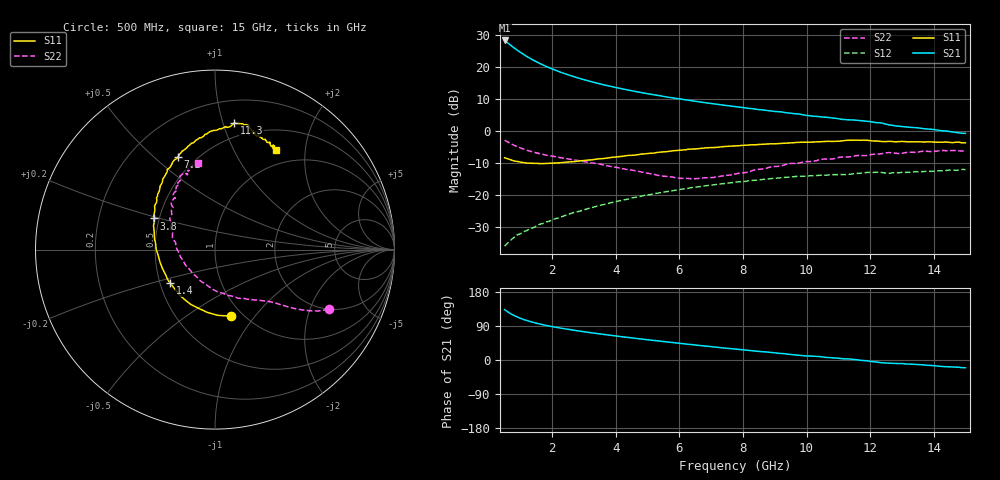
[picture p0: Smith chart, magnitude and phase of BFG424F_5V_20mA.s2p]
! Filename BFG424F_5V_20mA.prm
! Simulation_Values
! Created	by	janssen	on	nov	2006
!	Column ranking S11, S21,S12,S22 both magnitude and phase.
!	VCE	=	5	V,	IC	=	20	mA
!	Common	Emitter	S-Parameters
#	GHZ	S	MA	R	50
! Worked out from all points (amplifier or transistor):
!   146 points, 500 MHz to 15 GHz, reference 50 ohm
!   highest |S21| = 28.2 dB at 500 MHz (marker M1)
!   |S21| within 3 dB of that: start of sweep to 894.8 MHz
!   unconditionally stable (mu >= 1): 1.645 GHz to end of sweep
!   at 2.9 GHz: K = 1.14, MAG = 18.3 dB, |S12| = -24.9 dB
!   at 7.8 GHz: K = 1.13, MAG = 9.5 dB, |S12| = -15.9 dB
!   at 15 GHz: K = 1.38, MAG = 2.0 dB, |S12| = -12.1 dB
!   S11 on the Smith chart (normalised r, x): 500 MHz: 0.88, -0.77; 1.4 GHz: 0.56, -0.23; 3.8 GHz: 0.47, +0.19; 7.2 GHz: 0.40, +0.60; 11.3 GHz: 0.38, +1.09; 15 GHz: 0.77, +1.49
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0.5  0.382 -76.3  25.58 133.0  0.016 62.0  0.715 -27.8
0.6  0.367 -87.3  23.35 127.0  0.018 60.4  0.67 -30.7
0.7  0.352 -97.3  21.35 121.8  0.02 60.9  0.63 -32.8
0.8  0.339 -106.1  19.56 117.3  0.022 60.7  0.596 -34.4
0.9  0.334 -114.0  18.03 113.4  0.024 60.7  0.567 -35.8
1  0.326 -121.1  16.66 109.9  0.025 61.1  0.541 -37.0
1.1  0.321 -127.5  15.45 106.8  0.027 61.6  0.519 -38.0
1.2  0.315 -133.2  14.39 104.1  0.028 62.3  0.499 -38.9
1.4  0.312 -143.7  12.65 99.2  0.031 63.4  0.467 -40.5
1.7  0.309 -156.2  10.67 93.2  0.036 64.9  0.43 -42.8
2.1  0.315 -170.0  8.787 86.5  0.043 66.3  0.395 -46.4
2.5  0.328 179.4  7.453 80.8  0.05 67.6  0.365 -50.4
3  0.345 168.2  6.259 74.5  0.059 67.9  0.333 -56.2
3.8  0.383 153.1  4.968 65.5  0.075 67.3  0.281 -68.3
4.5  0.416 143.2  4.207 58.3  0.09 65.9  0.245 -81.4
5.4  0.467 131.0  3.511 49.5  0.109 62.6  0.199 -104.7
7.2  0.557 111.6  2.588 33.6  0.147 55.1  0.192 -164.8
7.8  0.584 106.5  2.372 28.6  0.16 52.4  0.215 177.4
10.2  0.669 88.5  1.692 10.1  0.2 39.8  0.335 134.7
11.3  0.714 81.4  1.486 3.0  0.209 35.3  0.391 123.0
12.6  0.687 71.1  1.236 -8.3  0.218 28.4  0.459 112.5
15  0.651 58.8  0.914 -20.5  0.249 19.6  0.492 101.1
